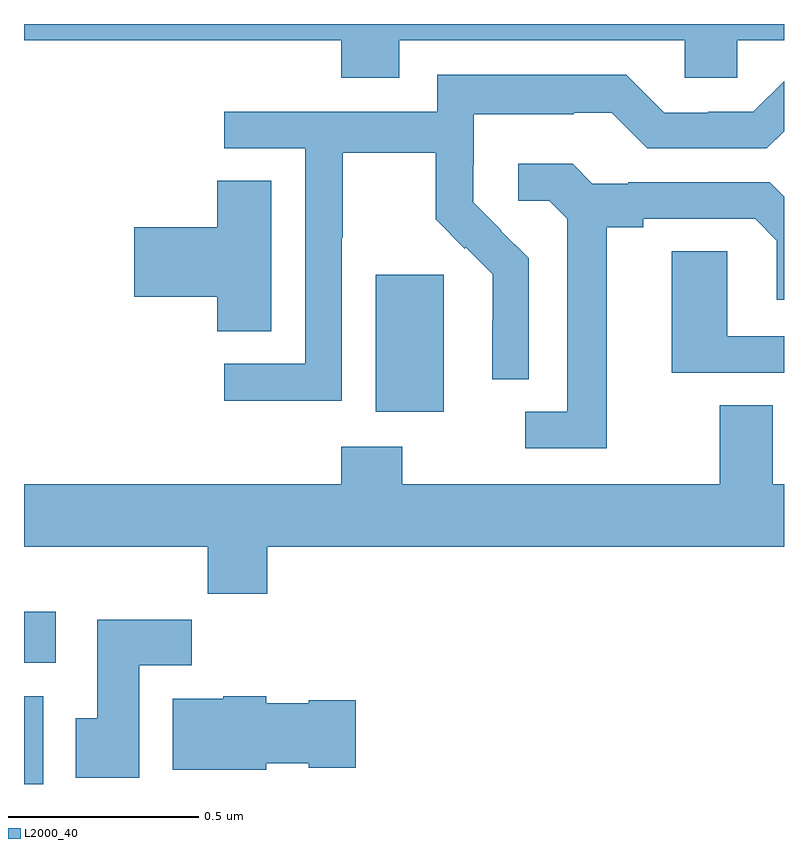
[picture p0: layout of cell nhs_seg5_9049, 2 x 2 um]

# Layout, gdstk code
import gdstk
lib = gdstk.Library(unit=1e-6, precision=1e-09)
def R(c, l, rs):  # rectangles x0, y0, x1, y1
    for r in rs: c.add(gdstk.rectangle(r[:2], r[2:], *l))
def P(c, l, *ps):  # polygons
    for p in ps: c.add(gdstk.Polygon(p, *l))
L2000_40 = (2000, 40)

nhs_seg5_9049 = lib.new_cell('nhs_seg5_9049')
R(nhs_seg5_9049, L2000_40, [(229,858.799,229.051,859.03), (229,859.118,229.084,859.252), (229.925,859.778,230.104,860.139)])
P(nhs_seg5_9049, L2000_40, [(229.987,860.756),(230.739,860.756),(230.739,860.658),(230.877,860.658),(230.877,860.756),(231,860.756),(231,860.799),(229,860.799),(229,860.756),(229.835,860.756),(229.835,860.657),(229.987,860.657)],
  [(229.836,860.236),(229.839,860.236),(229.839,860.46),(230.083,860.46),(230.083,860.285),(230.16,860.208),(230.163,860.211),(230.234,860.141),(230.234,860.018),(230.232,860.018),(230.232,859.864),(230.328,859.864),(230.328,860.182),(230.255,860.255),(230.256,860.256),(230.182,860.33),(230.182,860.427),(230.184,860.427),(230.184,860.561),(230.447,860.561),(230.447,860.565),(230.547,860.565),(230.64,860.472),(230.955,860.472),(231,860.517),(231,860.649),(230.919,860.568),(230.801,860.568),(230.801,860.565),(230.685,860.565),(230.585,860.665),(230.088,860.665),(230.088,860.568),(229.527,860.568),(229.527,860.472),(229.74,860.472),(229.74,859.905),(229.527,859.905),(229.527,859.807),(229.836,859.807)],
  [(230.533,860.264),(230.629,860.264),(230.629,860.286),(230.924,860.286),(230.981,860.229),(230.981,860.073),(231,860.073),(231,860.344),(230.962,860.382),(230.59,860.382),(230.59,860.379),(230.496,860.379),(230.444,860.431),(230.301,860.431),(230.301,860.334),(230.382,860.334),(230.429,860.287),(230.429,859.779),(230.319,859.779),(230.319,859.683),(230.533,859.683)],
  [(229.651,860.387),(229.508,860.387),(229.508,860.264),(229.29,860.264),(229.29,860.081),(229.508,860.081),(229.508,859.99),(229.651,859.99)],
  [(231,859.977),(230.85,859.977),(230.85,860.201),(230.705,860.201),(230.705,859.881),(231,859.881)],
  [(229.64,859.424),(231,859.424),(231,859.588),(230.971,859.588),(230.971,859.796),(230.831,859.796),(230.831,859.588),(229.995,859.588),(229.995,859.687),(229.835,859.687),(229.835,859.588),(229,859.588),(229,859.424),(229.483,859.424),(229.483,859.3),(229.64,859.3)],
  [(229.303,859.112),(229.442,859.112),(229.442,859.231),(229.193,859.231),(229.193,858.972),(229.136,858.972),(229.136,858.816),(229.303,858.816)],
  [(229.638,858.854),(229.749,858.854),(229.749,858.842),(229.873,858.842),(229.873,859.02),(229.749,859.02),(229.749,859.012),(229.638,859.012),(229.638,859.03),(229.524,859.03),(229.524,859.024),(229.391,859.024),(229.391,858.836),(229.638,858.836)])

lib.write_gds('nhs_seg5_9049.gds')
